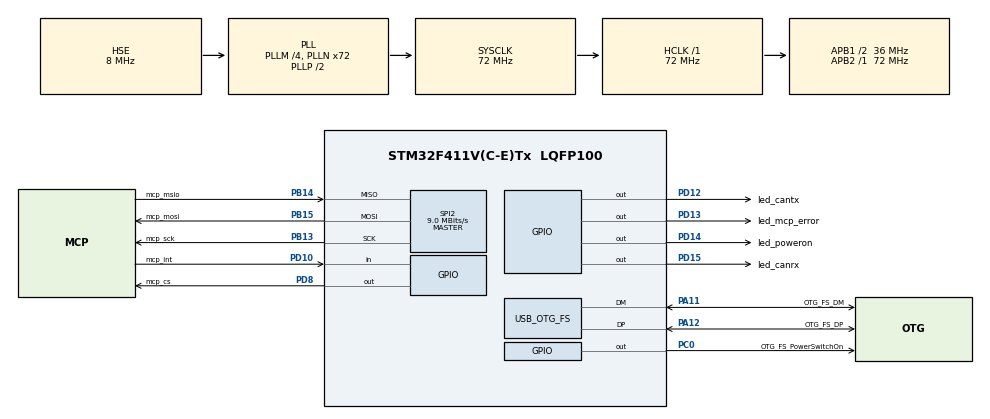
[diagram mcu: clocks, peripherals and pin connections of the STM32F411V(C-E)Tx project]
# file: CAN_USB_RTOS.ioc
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FREERTOS.Tasks01=defaultTask,0,128,StartDefaultTask,Default,NULL,Dynamic,NULL,NULL;myTask01,-2,128,StartTask01,Default,NULL,Dynamic,NULL,NULL
FREERTOS.configGENERATE_RUN_TIME_STATS=1
FREERTOS.configUSE_NEWLIB_REENTRANT=1
FREERTOS.configUSE_STATS_FORMATTING_FUNCTIONS=1
FREERTOS.configUSE_TRACE_FACILITY=1
Mcu.Family=STM32F4
Mcu.Name=STM32F411V(C-E)Tx
Mcu.Package=LQFP100
NVIC.OTG_FS_IRQn=true\:5\:0\:false\:false\:true\:true\:true\:true\:true
NVIC.PriorityGroup=NVIC_PRIORITYGROUP_4
NVIC.TIM1_TRG_COM_TIM11_IRQn=true\:5\:0\:false\:false\:true\:true\:true\:true\:true
NVIC.TIM1_UP_TIM10_IRQn=true\:15\:0\:false\:false\:true\:false\:false\:true\:true
NVIC.TimeBase=TIM1_UP_TIM10_IRQn
NVIC.TimeBaseIP=TIM1
PA0-WKUP.Mode=SYS_WakeUp0
PA0-WKUP.Signal=SYS_WKUP
PA11.GPIO_Label=OTG_FS_DM
PA11.Mode=Device_Only
PA11.Signal=USB_OTG_FS_DM
PA12.GPIO_Label=OTG_FS_DP
PA12.Mode=Device_Only
PA12.Signal=USB_OTG_FS_DP
PA13.Mode=Trace_Asynchronous_SW
PA13.Signal=SYS_JTMS-SWDIO
PA14.Mode=Trace_Asynchronous_SW
PA14.Signal=SYS_JTCK-SWCLK
PB13.GPIO_Label=mcp_sck
PB13.GPIO_PuPd=GPIO_PULLDOWN
PB13.Mode=Full_Duplex_Master
PB13.Signal=SPI2_SCK
PB14.GPIO_Label=mcp_msio
PB14.GPIO_PuPd=GPIO_NOPULL
PB14.Mode=Full_Duplex_Master
PB14.Signal=SPI2_MISO
PB15.GPIO_Label=mcp_mosi
PB15.GPIO_PuPd=GPIO_NOPULL
PB15.Mode=Full_Duplex_Master
PB15.Signal=SPI2_MOSI
PB3.GPIO_Label=SWO
PB3.Mode=Trace_Asynchronous_SW
PB3.Signal=SYS_JTDO-SWO
PC0.GPIO_Label=OTG_FS_PowerSwitchOn
PC0.PinState=GPIO_PIN_SET
PC0.Signal=GPIO_Output
PD10.GPIO_Label=mcp_int
PD10.GPIO_PuPd=GPIO_PULLUP
PD10.Signal=GPIO_Input
PD12.GPIO_Label=led_cantx
PD12.GPIO_PuPd=GPIO_NOPULL
PD12.GPIO_Speed=GPIO_SPEED_FREQ_LOW
PD12.Signal=GPIO_Output
PD13.GPIO_Label=led_mcp_error
PD13.GPIO_PuPd=GPIO_NOPULL
PD13.GPIO_Speed=GPIO_SPEED_FREQ_LOW
PD13.Signal=GPIO_Output
PD14.GPIO_Label=led_poweron
PD14.GPIO_PuPd=GPIO_NOPULL
PD14.GPIO_Speed=GPIO_SPEED_FREQ_LOW
PD14.Signal=GPIO_Output
PD15.GPIO_Label=led_canrx
PD15.GPIO_PuPd=GPIO_NOPULL
PD15.GPIO_Speed=GPIO_SPEED_FREQ_LOW
PD15.Signal=GPIO_Output
PD8.GPIO_Label=mcp_cs
PD8.GPIO_PuPd=GPIO_PULLUP
PD8.GPIO_Speed=GPIO_SPEED_FREQ_VERY_HIGH
PD8.PinState=GPIO_PIN_SET
PD8.Signal=GPIO_Output
PH0\ -\ OSC_IN.GPIO_Label=PH0-OSC_IN
PH0\ -\ OSC_IN.Mode=HSE-External-Oscillator
PH0\ -\ OSC_IN.Signal=RCC_OSC_IN
PH1\ -\ OSC_OUT.GPIO_Label=PH1-OSC_OUT
PH1\ -\ OSC_OUT.Mode=HSE-External-Oscillator
PH1\ -\ OSC_OUT.Signal=RCC_OSC_OUT
ProjectManager.HeapSize=0x200
ProjectManager.StackSize=0x400
ProjectManager.TargetToolchain=STM32CubeIDE
RCC.48MHZClocksFreq_Value=48000000
RCC.AHBFreq_Value=72000000
RCC.APB1CLKDivider=RCC_HCLK_DIV2
RCC.APB1Freq_Value=36000000
RCC.APB1TimFreq_Value=72000000
RCC.APB2Freq_Value=72000000
RCC.APB2TimFreq_Value=72000000
RCC.CortexFreq_Value=72000000
RCC.HCLKFreq_Value=72000000
RCC.HSE_VALUE=8000000
RCC.HSI_VALUE=16000000
RCC.LSE_VALUE=32768
RCC.PLLI2SM=5
RCC.PLLI2SN=200
RCC.PLLM=4
RCC.PLLN=72
RCC.PLLQ=3
RCC.SYSCLKFreq_VALUE=72000000
RCC.SYSCLKSource=RCC_SYSCLKSOURCE_PLLCLK
RCC.VCOOutputFreq_Value=144000000
SPI2.BaudRatePrescaler=SPI_BAUDRATEPRESCALER_4
SPI2.CLKPhase=SPI_PHASE_1EDGE
SPI2.CLKPolarity=SPI_POLARITY_LOW
SPI2.CalculateBaudRate=9.0 MBits/s
SPI2.Direction=SPI_DIRECTION_2LINES
SPI2.FirstBit=SPI_FIRSTBIT_MSB
SPI2.Mode=SPI_MODE_MASTER
SPI2.VirtualType=VM_MASTER
USB_DEVICE.CLASS_NAME_FS=CDC
USB_DEVICE.PRODUCT_STRING_CDC_FS=CAN port
USB_DEVICE.VirtualMode=Cdc
USB_DEVICE.VirtualModeFS=Cdc_FS
USB_OTG_FS.VirtualMode=Device_Only
VP_FREERTOS_VS_CMSIS_V1.Mode=CMSIS_V1
VP_SYS_VS_tim1.Mode=TIM1
VP_TIM11_VS_ClockSourceINT.Mode=Enable_Timer
VP_USB_DEVICE_VS_USB_DEVICE_CDC_FS.Mode=CDC_FS
board=STM32F411E-DISCO

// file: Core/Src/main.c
/* USER CODE BEGIN Header */
/**
 ******************************************************************************
 * @file           : main.c
 * @brief          : Main program body
 ******************************************************************************
 * @attention
 *
 * Copyright (c) 2025 STMicroelectronics.
 * All rights reserved.
 *
 * This software is licensed under terms that can be found in the LICENSE file
 * in the root directory of this software component.
 * If no LICENSE file comes with this software, it is provided AS-IS.
 *
 ******************************************************************************
 */
/* USER CODE END Header */
#include "main.h"
#include "cmsis_os.h"
#include "usb_device.h"

/* USER CODE BEGIN Includes */
#include "mcp_hal.h"
#include "task.h"
#include "CAN_Handler.h"

SemaphoreHandle_t xSyncSemaphore;
extern USBD_HandleTypeDef hUsbDeviceFS;

/* USER CODE END Includes */

SPI_HandleTypeDef hspi2;

TIM_HandleTypeDef htim11;

osThreadId HandleMCPConfigStats;
osThreadId HandleCANRx;
osThreadId HandleCANTx;
osThreadId HandleLEDIndicators;
SemaphoreHandle_t spiMutex;

TaskStatus_t xTaskDetails;
/* USER CODE BEGIN PV */
// SPI_HandleTypeDef* spi_handler;
volatile CAN_FRAME g_can_tx_frame ;

osThreadId CANTxHandle;

void SystemClock_Config(void);
static void MX_GPIO_Init(void);
static void MX_SPI2_Init(void);
static void MX_TIM11_Init(void);

// RTOS tasks
void TaskMCPConfigStatsTask(void const *argument);
void TaskCANRx(void const *argument);
void TaskCANTx(void const *argument);
void TaskLEDIndicators(void const *argument);

/* USER CODE BEGIN PFP */
// Helper functions
void revolving_led_pattern(void);
void transmit_can_message(CAN_FRAME *tx_frame);
void CAN_Pool_Init(void);

QueueHandle_t can_tx_queue;

int main(void) {

	/* MCU Configuration--------------------------------------------------------*/

	/* Reset of all peripherals, Initializes the Flash interface and the Systick. */
	HAL_Init();

	/* Configure the system clock */
	SystemClock_Config();

	/* Initialize all configured peripherals */
	MX_GPIO_Init();
	MX_SPI2_Init();
	MX_TIM11_Init();
	/* USER CODE BEGIN 2 */
	MX_USB_DEVICE_Init();
	spi_handler = &hspi2;
	mcp_initialize();

	/* USER CODE END 2 */

	/* Create the thread(s) */
	/* definition and creation of defaultTask */
	//  osThreadDef(defaultTask, StartDefaultTask, osPriorityHigh, 0, 128);
	//  defaultTaskHandle = osThreadCreate(osThread(defaultTask), NULL);
	/* definition and creation of myTask01 */
	//  osThreadDef(myTask01, StartTask01, osPriorityHigh, 0, 128);
	//  myTask01Handle = osThreadCreate(osThread(myTask01), NULL);
	//
	//  /* USER CODE BEGIN RTOS_THREADS */
	//  osThreadDef(myTask02, StartTask02, osPriorityHigh, 0, 128);
	//  myTask02Handle = osThreadCreate(osThread(myTask02), NULL);
	//
	osThreadDef(mcp_config_stats, TaskMCPConfigStatsTask, osPriorityNormal, 0,128);
	HandleMCPConfigStats = osThreadCreate(osThread(mcp_config_stats), NULL);

	osThreadDef(can_rx, TaskCANRx, osPriorityHigh, 0, 256);
	HandleCANRx = osThreadCreate(osThread(can_rx), NULL);
	osThreadSuspend(HandleCANRx);

	osThreadDef(can_tx, TaskCANTx, osPriorityHigh, 0, 256);
	HandleCANTx = osThreadCreate(osThread(can_tx), NULL);
	osThreadSuspend(HandleCANTx);

	osThreadDef(led_indications, TaskLEDIndicators, osPriorityNormal, 0,128);
	HandleLEDIndicators = osThreadCreate(osThread(led_indications), NULL);

	//  UBaseType_t highWaterMark = uxTaskGetStackHighWaterMark(myTask04Handle);
	/* USER CODE END RTOS_THREADS */

	/* Start scheduler */
	osKernelStart();

	/* We should never get here as control is now taken by the scheduler */

	/* Infinite loop */
	while (1) {

	}
}

void SystemClock_Config(void) {
	RCC_OscInitTypeDef RCC_OscInitStruct = { 0 };
	RCC_ClkInitTypeDef RCC_ClkInitStruct = { 0 };

	/** Configure the main internal regulator output voltage
	 */
	__HAL_RCC_PWR_CLK_ENABLE();
	__HAL_PWR_VOLTAGESCALING_CONFIG(PWR_REGULATOR_VOLTAGE_SCALE1);

	/** Initializes the RCC Oscillators according to the specified parameters
	 * in the RCC_OscInitTypeDef structure.
	 */
	RCC_OscInitStruct.OscillatorType = RCC_OSCILLATORTYPE_HSE;
	RCC_OscInitStruct.HSEState = RCC_HSE_ON;
	RCC_OscInitStruct.PLL.PLLState = RCC_PLL_ON;
	RCC_OscInitStruct.PLL.PLLSource = RCC_PLLSOURCE_HSE;
	RCC_OscInitStruct.PLL.PLLM = 4;
	RCC_OscInitStruct.PLL.PLLN = 72;
	RCC_OscInitStruct.PLL.PLLP = RCC_PLLP_DIV2;
	RCC_OscInitStruct.PLL.PLLQ = 3;
	if (HAL_RCC_OscConfig(&RCC_OscInitStruct) != HAL_OK) {
		Error_Handler();
	}

	/** Initializes the CPU, AHB and APB buses clocks
	 */
	RCC_ClkInitStruct.ClockType = RCC_CLOCKTYPE_HCLK | RCC_CLOCKTYPE_SYSCLK
			| RCC_CLOCKTYPE_PCLK1 | RCC_CLOCKTYPE_PCLK2;
	RCC_ClkInitStruct.SYSCLKSource = RCC_SYSCLKSOURCE_PLLCLK;
	RCC_ClkInitStruct.AHBCLKDivider = RCC_SYSCLK_DIV1;
	RCC_ClkInitStruct.APB1CLKDivider = RCC_HCLK_DIV2;
	RCC_ClkInitStruct.APB2CLKDivider = RCC_HCLK_DIV1;

	if (HAL_RCC_ClockConfig(&RCC_ClkInitStruct, FLASH_LATENCY_2) != HAL_OK) {
		Error_Handler();
	}
}

static void MX_SPI2_Init(void) {

	/* SPI2 parameter configuration*/
	hspi2.Instance = SPI2;
	hspi2.Init.Mode = SPI_MODE_MASTER;
	hspi2.Init.Direction = SPI_DIRECTION_2LINES;
	hspi2.Init.DataSize = SPI_DATASIZE_8BIT;
	hspi2.Init.CLKPolarity = SPI_POLARITY_LOW;
	hspi2.Init.CLKPhase = SPI_PHASE_1EDGE;
	hspi2.Init.NSS = SPI_NSS_SOFT;
	hspi2.Init.BaudRatePrescaler = SPI_BAUDRATEPRESCALER_4;
	hspi2.Init.FirstBit = SPI_FIRSTBIT_MSB;
	hspi2.Init.TIMode = SPI_TIMODE_DISABLE;
	hspi2.Init.CRCCalculation = SPI_CRCCALCULATION_DISABLE;
	hspi2.Init.CRCPolynomial = 10;
	if (HAL_SPI_Init(&hspi2) != HAL_OK) {
		Error_Handler();
	}
}

static void MX_TIM11_Init(void) {

	htim11.Instance = TIM11;
	htim11.Init.Prescaler = 0;
	htim11.Init.CounterMode = TIM_COUNTERMODE_UP;
	htim11.Init.Period = 65535;
	htim11.Init.ClockDivision = TIM_CLOCKDIVISION_DIV1;
	htim11.Init.AutoReloadPreload = TIM_AUTORELOAD_PRELOAD_DISABLE;
	if (HAL_TIM_Base_Init(&htim11) != HAL_OK) {
		Error_Handler();
	}
}

static void MX_GPIO_Init(void) {
	GPIO_InitTypeDef GPIO_InitStruct = { 0 };

	/* GPIO Ports Clock Enable */
	__HAL_RCC_GPIOH_CLK_ENABLE();
	__HAL_RCC_GPIOC_CLK_ENABLE();
	__HAL_RCC_GPIOA_CLK_ENABLE();
	__HAL_RCC_GPIOB_CLK_ENABLE();
	__HAL_RCC_GPIOD_CLK_ENABLE();

	/*Configure GPIO pin Output Level */
	HAL_GPIO_WritePin(OTG_FS_PowerSwitchOn_GPIO_Port, OTG_FS_PowerSwitchOn_Pin,
			GPIO_PIN_SET);

	/*Configure GPIO pin Output Level */
	HAL_GPIO_WritePin(mcp_cs_GPIO_Port, mcp_cs_Pin, GPIO_PIN_SET);

	/*Configure GPIO pin Output Level */
	HAL_GPIO_WritePin(GPIOD,
			led_cantx_Pin | led_mcp_error_Pin | led_poweron_Pin | led_canrx_Pin,
			GPIO_PIN_RESET);

	/*Configure GPIO pin : OTG_FS_PowerSwitchOn_Pin */
	GPIO_InitStruct.Pin = OTG_FS_PowerSwitchOn_Pin;
	GPIO_InitStruct.Mode = GPIO_MODE_OUTPUT_PP;
	GPIO_InitStruct.Pull = GPIO_NOPULL;
	GPIO_InitStruct.Speed = GPIO_SPEED_FREQ_LOW;
	HAL_GPIO_Init(OTG_FS_PowerSwitchOn_GPIO_Port, &GPIO_InitStruct);

	/*Configure GPIO pin : mcp_cs_Pin */
	GPIO_InitStruct.Pin = mcp_cs_Pin;
	GPIO_InitStruct.Mode = GPIO_MODE_OUTPUT_PP;
	GPIO_InitStruct.Pull = GPIO_PULLUP;
	GPIO_InitStruct.Speed = GPIO_SPEED_FREQ_VERY_HIGH;
	HAL_GPIO_Init(mcp_cs_GPIO_Port, &GPIO_InitStruct);

	/*Configure GPIO pin : mcp_int_Pin */
	GPIO_InitStruct.Pin = mcp_int_Pin;
	GPIO_InitStruct.Mode = GPIO_MODE_INPUT;
	GPIO_InitStruct.Pull = GPIO_PULLUP;
	HAL_GPIO_Init(mcp_int_GPIO_Port, &GPIO_InitStruct);

	/*Configure GPIO pins : led_cantx_Pin led_mcp_error_Pin led_poweron_Pin led_canrx_Pin */
	GPIO_InitStruct.Pin = led_cantx_Pin | led_mcp_error_Pin | led_poweron_Pin
			| led_canrx_Pin;
	GPIO_InitStruct.Mode = GPIO_MODE_OUTPUT_PP;
	GPIO_InitStruct.Pull = GPIO_NOPULL;
	GPIO_InitStruct.Speed = GPIO_SPEED_FREQ_LOW;
	HAL_GPIO_Init(GPIOD, &GPIO_InitStruct);

}

/* USER CODE BEGIN 4 */

void TaskMCPConfigStatsTask(void const *argument) {
	/* USER CODE BEGIN StartTask01 */
	/* Infinite loop */
	spiMutex = xSemaphoreCreateMutex();
	CAN_Pool_Init();
	configASSERT(spiMutex != NULL);
	for (;;) {
		if (hUsbDeviceFS.dev_state != USBD_STATE_CONFIGURED) {
			revolving_led_pattern();
			vTaskGetInfo(HandleCANTx, &xTaskDetails, pdTRUE, eInvalid);
			if (xTaskDetails.eCurrentState != eSuspended) {
				vTaskSuspend(HandleCANTx);
				vTaskSuspend(HandleCANRx);
			}
		} else {
			vTaskGetInfo(HandleCANTx, &xTaskDetails, pdTRUE, eInvalid);
			if (xTaskDetails.eCurrentState == eSuspended) {
				vTaskResume(HandleCANTx);
				vTaskResume(HandleCANRx);
			}
		}
	}
}

void TaskCANRx(void const *argument) {

	for (;;) {
		if (!HAL_GPIO_ReadPin(mcp_int_GPIO_Port, mcp_int_Pin)) {
			if (xSemaphoreTake(spiMutex, portMAX_DELAY) == pdTRUE) {
				mcp_recieve_can(&g_can_tx_frame);
				xSemaphoreGive(spiMutex);
				CDC_Transmit_FS(&g_can_tx_frame, 13U);
			}
		}
	}
}

void TaskCANTx(void const *argument) {
	CAN_FRAME *frame;
	for (;;) {
		if (xQueueReceive(can_tx_queue, &frame, portMAX_DELAY) == pdTRUE) {
			if (xSemaphoreTake(spiMutex, portMAX_DELAY) == pdTRUE) {
				transmit_can_message(frame); // Send over CAN
				xSemaphoreGive(spiMutex);
				CAN_FramePool_Free(frame);   // Return to pool
			}
		}
	}
}

void TaskLEDIndicators(void const *arguments){

	for(;;){
	vTaskGetInfo(HandleCANTx, &xTaskDetails, pdTRUE, eInvalid);
	HAL_GPIO_WritePin(led_cantx_GPIO_Port, led_cantx_Pin, (int) xTaskDetails.eCurrentState < eBlocked);
	vTaskGetInfo(HandleCANRx, &xTaskDetails, pdTRUE, eInvalid);
	HAL_GPIO_WritePin(led_canrx_GPIO_Port, led_canrx_Pin, (int) xTaskDetails.eCurrentState < eBlocked);
	osDelay(500);
	HAL_GPIO_WritePin(led_cantx_GPIO_Port, led_cantx_Pin, 0x0);
	HAL_GPIO_WritePin(led_canrx_GPIO_Port, led_canrx_Pin, 0x0);
	}
}

void CAN_Pool_Init(void) {
	CAN_FramePool_Init(); // Call during system init

	can_tx_queue = xQueueCreate(8, sizeof(CAN_FRAME));
	if (can_tx_queue == NULL) {
		HAL_GPIO_WritePin(led_cantx_GPIO_Port, led_cantx_Pin, 0x1);
	}
}

void vApplicationStackOverflowHook(TaskHandle_t xTask, char *pcTaskName) {
	printf("Stack overflow in task: %s\n", pcTaskName);
	while (1)
		; // Break here in debugger
}

/* USER CODE END 4 */

void HAL_TIM_PeriodElapsedCallback(TIM_HandleTypeDef *htim) {
	if (htim->Instance == TIM1) {
		HAL_IncTick();
	}
}

void Error_Handler(void) {
	__disable_irq();
	while (1) {
	}
}
void revolving_led_pattern(void) {
	HAL_GPIO_WritePin(led_mcp_error_GPIO_Port, led_poweron_Pin, 0x0);
	HAL_GPIO_WritePin(led_mcp_error_GPIO_Port, led_cantx_Pin, 0x1);
	osDelay(140);
	HAL_GPIO_WritePin(led_mcp_error_GPIO_Port, led_cantx_Pin, 0x0);
	HAL_GPIO_WritePin(led_mcp_error_GPIO_Port, led_mcp_error_Pin, 0x1);
	osDelay(140);
	HAL_GPIO_WritePin(led_mcp_error_GPIO_Port, led_mcp_error_Pin, 0x0);
	HAL_GPIO_WritePin(led_mcp_error_GPIO_Port, led_canrx_Pin, 0x1);
	osDelay(140);
	HAL_GPIO_WritePin(led_mcp_error_GPIO_Port, led_canrx_Pin, 0x0);
	HAL_GPIO_WritePin(led_mcp_error_GPIO_Port, led_poweron_Pin, 0x1);
	osDelay(140);
}
void transmit_can_message(CAN_FRAME *tx_frame) {
	volatile uint8_t txdata[14];
	volatile uint8_t buffer_id = 0, buffer_ctrl_reg = 0;

	mcp_rx_reg(&buffer_id, &buffer_ctrl_reg);

	txdata[0] = (uint8_t) (MCP_INSTRUCTION_LOAD_TX_BUFFER | buffer_id);

	load_array(&txdata, tx_frame);

	HAL_GPIO_WritePin(mcp_cs_GPIO_Port, mcp_cs_Pin, 0x0);
	HAL_SPI_Transmit(spi_handler, txdata, 14U, 100);
	HAL_GPIO_WritePin(mcp_cs_GPIO_Port, mcp_cs_Pin, 0x1);

	mcp_reg_write(buffer_ctrl_reg, MCP_TXREQ_EN);

	txdata[0] = MCP_INSTRUCTION_REQUEST_TO_SEND | buffer_id;
	HAL_GPIO_WritePin(mcp_cs_GPIO_Port, mcp_cs_Pin, 0x0);
	HAL_SPI_Transmit(spi_handler, txdata, 1U, 100);
	HAL_GPIO_WritePin(mcp_cs_GPIO_Port, mcp_cs_Pin, 0x1);
}

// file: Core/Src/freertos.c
/* USER CODE BEGIN Header */
/**
  ******************************************************************************
  * File Name          : freertos.c
  * Description        : Code for freertos applications
  ******************************************************************************
  * @attention
  *
  * Copyright (c) 2025 STMicroelectronics.
  * All rights reserved.
  *
  * This software is licensed under terms that can be found in the LICENSE file
  * in the root directory of this software component.
  * If no LICENSE file comes with this software, it is provided AS-IS.
  *
  ******************************************************************************
  */
/* USER CODE END Header */

#include "FreeRTOS.h"
#include "task.h"
#include "main.h"

/* USER CODE BEGIN Includes */
extern TIM_HandleTypeDef htim11;
/* USER CODE END Includes */

/* USER CODE BEGIN FunctionPrototypes */
/* Functions needed when configGENERATE_RUN_TIME_STATS is on */

extern volatile unsigned long ulHighFrequencyTimerTicks;

/* USER CODE END FunctionPrototypes */

/* GetIdleTaskMemory prototype (linked to static allocation support) */
void vApplicationGetIdleTaskMemory( StaticTask_t **ppxIdleTaskTCBBuffer, StackType_t **ppxIdleTaskStackBuffer, uint32_t *pulIdleTaskStackSize );

/* Hook prototypes */
void configureTimerForRunTimeStats(void);
unsigned long getRunTimeCounterValue(void);

/* USER CODE BEGIN 1 */
/* Functions needed when configGENERATE_RUN_TIME_STATS is on */
__weak void configureTimerForRunTimeStats(void)
{
	HAL_TIM_Base_Start_IT(&htim11);
}

__weak unsigned long getRunTimeCounterValue(void)
{
	return ulHighFrequencyTimerTicks;
}
/* USER CODE END 1 */

/* USER CODE BEGIN GET_IDLE_TASK_MEMORY */
static StaticTask_t xIdleTaskTCBBuffer;
static StackType_t xIdleStack[configMINIMAL_STACK_SIZE];

void vApplicationGetIdleTaskMemory( StaticTask_t **ppxIdleTaskTCBBuffer, StackType_t **ppxIdleTaskStackBuffer, uint32_t *pulIdleTaskStackSize )
{
  *ppxIdleTaskTCBBuffer = &xIdleTaskTCBBuffer;
  *ppxIdleTaskStackBuffer = &xIdleStack[0];
  *pulIdleTaskStackSize = configMINIMAL_STACK_SIZE;
  /* place for user code */
}
/* USER CODE END GET_IDLE_TASK_MEMORY */
